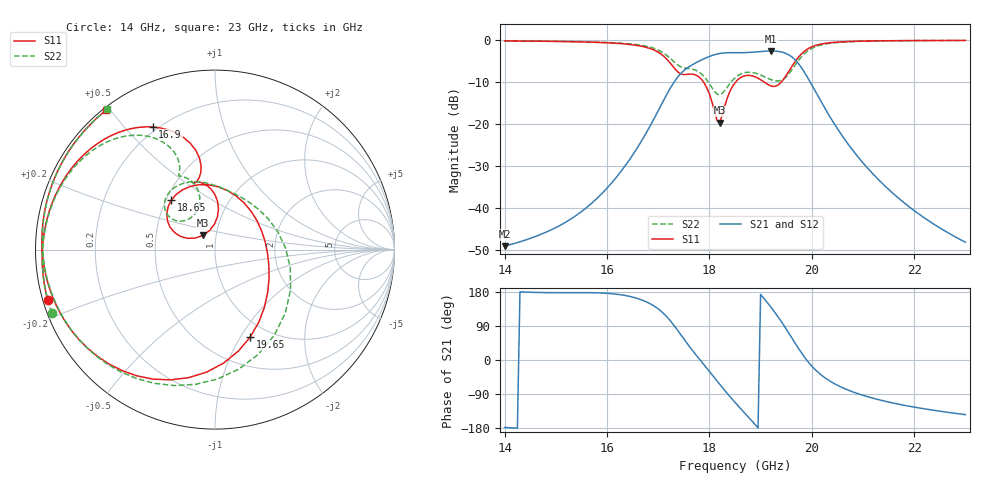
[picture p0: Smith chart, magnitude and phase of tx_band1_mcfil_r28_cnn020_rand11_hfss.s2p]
! Touchstone file exported from HFSS 3D Layout Design 2026.1.0
!  File:  D:/Work/SIM/ADS_AUTO_SIM/projects/RFSOC_RF/TX_Fillter.aedt
!  Generated:  02:20:51 AM Aug 31, 2026
!  Design:  TX_BAND1_MCFIL_R28_CNN020
!  Project:  TX_Fillter
# GHz S MA R 50.000000
! Terminal data exported
! Port[1] = Port1
! Port[2] = Port2
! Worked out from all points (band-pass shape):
!   181 points, 14 GHz to 23 GHz, reference 50 ohm
!   highest |S21| = -2.63 dB at 19.2 GHz (marker M1); lowest = -49.0 dB at 14 GHz (marker M2)
!   |S21| within 3 dB of the highest: 17.71 GHz to 19.74 GHz (2.032 GHz wide, 10.9 % of centre)
!   lowest |S11| = -19.7 dB at 18.2 GHz (marker M3), VSWR 1.23, Z = 43.2 + j6.89 ohm
!   |S11| at or under -10 dB: 17.88 GHz to 18.51 GHz (630.3 MHz wide, 3.46 % of centre); 19.07 GHz to 19.41 GHz (338 MHz wide, 1.76 % of centre)
!   |S22| runs from -13.1 to -0.1 dB; largest |S21 - S12| = 1.4e-14
!   S11 on the Smith chart (normalised r, x): 14 GHz: 0.01, -0.15; 16.9 GHz: 0.18, +0.60; 18.65 GHz: 0.53, +0.34; 19.65 GHz: 0.82, -1.10; 23 GHz: 0.01, +0.49
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14  0.9733 -163.1  0.003537 -177.9  0.003537 -177.9  0.9752 -158.8
15.5  0.947 166.4  0.009102 177.8  0.009102 177.8  0.9521 172.0
16.3  0.9003 143.6  0.02874 171.5  0.02874 171.5  0.9127 151.0
16.9  0.7661 116.9  0.1103 144.0  0.1103 144.0  0.8009 127.7
17  0.7143 111.2  0.1438 134.8  0.1438 134.8  0.7577 122.8
17.25  0.5172 99.6  0.2755 101.3  0.2755 101.3  0.5926 112.8
17.55  0.3886 108.3  0.4559 46.4  0.4559 46.4  0.4601 116.1
17.9  0.3064 90.1  0.599 -13.5  0.599 -13.5  0.3651 106.6
18.2  0.1039 130.5  0.6895 -63.8  0.6895 -63.8  0.2225 128.1
18.5  0.3094 148.9  0.7058 -111.9  0.7058 -111.9  0.3537 141.8
18.65  0.3673 131.6  0.7056 -134.2  0.7056 -134.2  0.4019 132.0
18.95  0.3509 87.4  0.7232 -179.0  0.7232 -179.0  0.3931 105.7
19.2  0.2839 34.6  0.7387 139.6  0.7387 139.6  0.3373 78.3
19.45  0.3419 -28.3  0.707 92.2  0.707 92.2  0.3434 29.5
19.65  0.5262 -68.2  0.5993 49.7  0.5993 49.7  0.4772 -28.1
19.85  0.7288 -101.7  0.4184 8.8  0.4184 8.8  0.6793 -78.8
20  0.8278 -121.9  0.2917 -16.2  0.2917 -16.2  0.7914 -106.9
20.25  0.9084 -146.5  0.156 -46.2  0.156 -46.2  0.8895 -138.5
20.5  0.9419 -163.3  0.08817 -66.6  0.08817 -66.6  0.9321 -158.8
20.9  0.9646 178.0  0.0409 -88.9  0.0409 -88.9  0.961 179.9
21.5  0.9775 158.9  0.01672 -111.0  0.01672 -111.0  0.9765 159.3
23  0.9852 127.9  0.003943 -144.2  0.003943 -144.2  0.9851 127.5
